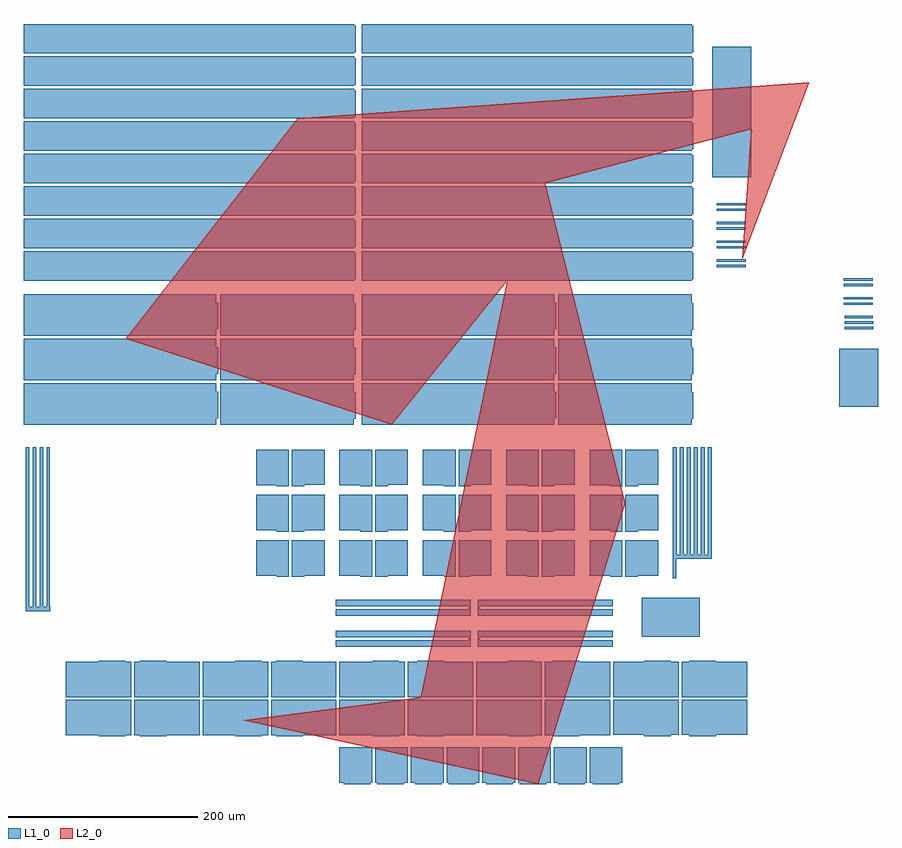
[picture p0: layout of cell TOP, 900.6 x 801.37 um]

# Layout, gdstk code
import gdstk
lib = gdstk.Library(unit=1e-6, precision=1e-09)
def R(c, l, rs):  # rectangles x0, y0, x1, y1
    for r in rs: c.add(gdstk.rectangle(r[:2], r[2:], *l))
def P(c, l, *ps):  # polygons
    for p in ps: c.add(gdstk.Polygon(p, *l))
L1_0 = (1, 0)
L2_0 = (2, 0)

top = lib.new_cell('TOP')
R(top, L1_0, [(1419.759,3811.713,1480.827,3852.633), (1628.017,4054.253,1668.929,4115.313), (1633.812,4135.949,1664.1,4138.36), (1633.812,4141.809,1664.1,4144.229), (1633.812,4147.677,1663.133,4150.089), (1632.636,4161.681,1663.133,4164.101), (1632.636,4167.477,1663.133,4169.896), (1632.636,4181.488,1663.133,4183.901), (1632.636,4187.285,1663.133,4189.696), (1498.834,4201.288,1529.331,4203.705), (1498.834,4207.085,1529.331,4209.501), (1498.834,4221.093,1529.331,4223.505), (1498.834,4226.889,1529.331,4229.301), (1498.834,4240.893,1529.331,4243.312), (1498.834,4246.689,1529.331,4249.109), (1498.834,4260.701,1529.331,4263.112), (1498.834,4266.496,1529.331,4268.909), (1494.215,4296.029,1535.127,4434.029)])
P(top, L1_0, [(770.08,3838.696),(770.08,3843.112),(770.357,3843.112),(770.357,4011.333),(773.808,4011.333),(773.808,3843.112),(777.672,3843.112),(777.672,4011.333),(781.12,4011.333),(781.12,3843.112),(784.984,3843.112),(784.984,4011.333),(788.436,4011.333),(788.436,3843.112),(792.3,3843.112),(792.3,4011.333),(795.749,4011.333),(795.749,3843.112),(796.164,3843.112),(796.164,3838.696)],
  [(1140.999,3656.397),(1140.999,3657.64),(1138.727,3657.64),(1138.727,3694.901),(1173.226,3694.901),(1173.226,3657.64),(1168.875,3657.64),(1168.875,3656.397)],
  [(1135.895,3706.833),(1135.895,3707.872),(1101.051,3707.872),(1101.051,3745.336),(1170.051,3745.336),(1170.051,3707.872),(1163.77,3707.872),(1163.77,3706.833)],
  [(1101.051,3747.893),(1101.051,3785.357),(1135.895,3785.357),(1135.895,3786.393),(1163.77,3786.393),(1163.77,3785.357),(1170.051,3785.357),(1170.051,3747.893)],
  [(1097.05,3800.885),(1097.05,3807.784),(1237.395,3807.784),(1237.395,3810.957),(1097.05,3810.957),(1097.05,3817.857),(1239.466,3817.857),(1239.466,3800.885)],
  [(1097.05,3833.589),(1097.05,3840.489),(1237.395,3840.489),(1237.395,3843.664),(1097.05,3843.664),(1097.05,3850.565),(1239.466,3850.565),(1239.466,3833.589)],
  [(1138.727,3874.713),(1138.727,3913.493),(1173.226,3913.493),(1173.226,3876.232),(1151.763,3876.232),(1151.763,3874.853),(1140.034,3874.853),(1140.034,3874.713)],
  [(1138.727,3922.461),(1138.727,3961.24),(1173.226,3961.24),(1173.226,3923.981),(1151.763,3923.981),(1151.763,3922.6),(1140.034,3922.6),(1140.034,3922.461)],
  [(1138.727,3970.209),(1138.727,4008.989),(1173.226,4008.989),(1173.226,3971.728),(1151.763,3971.728),(1151.763,3970.349),(1140.034,3970.349),(1140.034,3970.209)],
  [(768.334,4035.208),(768.334,4079.021),(971.259,4079.021),(971.259,4070.121),(973.19,4070.121),(973.19,4042.245),(971.259,4042.245),(971.259,4035.208)],
  [(975.334,4035.208),(975.334,4079.021),(1116.095,4079.021),(1116.095,4069.432),(1118.026,4069.432),(1118.026,4041.557),(1116.095,4041.557),(1116.095,4035.208)],
  [(1124.511,4035.208),(1124.511,4079.021),(1327.439,4079.021),(1327.439,4070.121),(1329.37,4070.121),(1329.37,4042.245),(1327.439,4042.245),(1327.439,4035.208)],
  [(1331.511,4035.208),(1331.511,4079.021),(1472.271,4079.021),(1472.271,4069.432),(1474.203,4069.432),(1474.203,4041.557),(1472.271,4041.557),(1472.271,4035.208)],
  [(1124.511,4082.056),(1124.511,4125.873),(1327.439,4125.873),(1327.439,4116.969),(1329.37,4116.969),(1329.37,4089.093),(1327.439,4089.093),(1327.439,4082.056)],
  [(1124.511,4128.909),(1124.511,4172.721),(1327.439,4172.721),(1327.439,4163.824),(1329.37,4163.824),(1329.37,4135.949),(1327.439,4135.949),(1327.439,4128.909)],
  [(1124.511,4187.145),(1124.511,4218.197),(1472.547,4218.197),(1472.547,4216.469),(1474.203,4216.469),(1474.203,4188.592),(1472.547,4188.592),(1472.547,4187.145)],
  [(1124.511,4221.369),(1124.511,4252.421),(1472.547,4252.421),(1472.547,4250.693),(1474.203,4250.693),(1474.203,4222.816),(1472.547,4222.816),(1472.547,4221.369)],
  [(1124.511,4255.593),(1124.511,4286.645),(1472.547,4286.645),(1472.547,4284.917),(1474.203,4284.917),(1474.203,4257.04),(1472.547,4257.04),(1472.547,4255.593)],
  [(1124.511,4289.817),(1124.511,4320.869),(1472.547,4320.869),(1472.547,4319.141),(1474.203,4319.141),(1474.203,4291.264),(1472.547,4291.264),(1472.547,4289.817)],
  [(1124.511,4324.041),(1124.511,4355.093),(1472.547,4355.093),(1472.547,4353.365),(1474.203,4353.365),(1474.203,4325.488),(1472.547,4325.488),(1472.547,4324.041)],
  [(1124.511,4358.265),(1124.511,4389.317),(1472.547,4389.317),(1472.547,4387.589),(1474.203,4387.589),(1474.203,4359.712),(1472.547,4359.712),(1472.547,4358.265)],
  [(1124.511,4392.489),(1124.511,4423.541),(1472.547,4423.541),(1472.547,4421.813),(1474.203,4421.813),(1474.203,4393.936),(1472.547,4393.936),(1472.547,4392.489)],
  [(1124.511,4426.713),(1124.511,4457.765),(1472.547,4457.765),(1472.547,4456.037),(1474.203,4456.037),(1474.203,4428.16),(1472.547,4428.16),(1472.547,4426.713)],
  [(1331.511,4082.056),(1331.511,4125.873),(1472.271,4125.873),(1472.271,4116.28),(1474.203,4116.28),(1474.203,4088.405),(1472.271,4088.405),(1472.271,4082.056)],
  [(1331.511,4128.909),(1331.511,4172.721),(1472.271,4172.721),(1472.271,4163.133),(1474.203,4163.133),(1474.203,4135.257),(1472.271,4135.257),(1472.271,4128.909)],
  [(768.334,4082.056),(768.334,4125.873),(971.259,4125.873),(971.259,4116.969),(973.19,4116.969),(973.19,4089.093),(971.259,4089.093),(971.259,4082.056)],
  [(768.334,4289.817),(768.334,4320.869),(1116.37,4320.869),(1116.37,4319.141),(1118.026,4319.141),(1118.026,4291.264),(1116.37,4291.264),(1116.37,4289.817)],
  [(768.334,4187.145),(768.334,4218.197),(1116.37,4218.197),(1116.37,4216.469),(1118.026,4216.469),(1118.026,4188.592),(1116.37,4188.592),(1116.37,4187.145)],
  [(768.334,4324.041),(768.334,4355.093),(1116.37,4355.093),(1116.37,4353.365),(1118.026,4353.365),(1118.026,4325.488),(1116.37,4325.488),(1116.37,4324.041)],
  [(768.334,4221.369),(768.334,4252.421),(1116.37,4252.421),(1116.37,4250.693),(1118.026,4250.693),(1118.026,4222.816),(1116.37,4222.816),(1116.37,4221.369)],
  [(768.334,4358.265),(768.334,4389.317),(1116.37,4389.317),(1116.37,4387.589),(1118.026,4387.589),(1118.026,4359.712),(1116.37,4359.712),(1116.37,4358.265)],
  [(768.334,4128.909),(768.334,4172.721),(971.259,4172.721),(971.259,4163.824),(973.19,4163.824),(973.19,4135.949),(971.259,4135.949),(971.259,4128.909)],
  [(768.334,4392.489),(768.334,4423.541),(1116.37,4423.541),(1116.37,4421.813),(1118.026,4421.813),(1118.026,4393.936),(1116.37,4393.936),(1116.37,4392.489)],
  [(975.334,4128.909),(975.334,4172.721),(1116.095,4172.721),(1116.095,4163.133),(1118.026,4163.133),(1118.026,4135.257),(1116.095,4135.257),(1116.095,4128.909)],
  [(975.334,4082.056),(975.334,4125.873),(1116.095,4125.873),(1116.095,4116.28),(1118.026,4116.28),(1118.026,4088.405),(1116.095,4088.405),(1116.095,4082.056)],
  [(768.334,4426.713),(768.334,4457.765),(1116.37,4457.765),(1116.37,4456.037),(1118.026,4456.037),(1118.026,4428.16),(1116.37,4428.16),(1116.37,4426.713)],
  [(768.334,4255.593),(768.334,4286.645),(1116.37,4286.645),(1116.37,4284.917),(1118.026,4284.917),(1118.026,4257.04),(1116.37,4257.04),(1116.37,4255.593)],
  [(1050.819,3874.713),(1050.819,3913.493),(1085.319,3913.493),(1085.319,3876.232),(1063.858,3876.232),(1063.858,3874.853),(1052.127,3874.853),(1052.127,3874.713)],
  [(1133.823,3874.713),(1133.823,3874.853),(1123.059,3874.853),(1123.059,3876.021),(1101.051,3876.021),(1101.051,3913.493),(1135.551,3913.493),(1135.551,3874.713)],
  [(1034.462,3706.833),(1034.462,3707.872),(1028.878,3707.872),(1028.878,3745.336),(1097.879,3745.336),(1097.879,3707.872),(1062.339,3707.872),(1062.339,3706.833)],
  [(1045.918,3922.461),(1045.918,3922.6),(1035.154,3922.6),(1035.154,3923.769),(1013.146,3923.769),(1013.146,3961.24),(1047.646,3961.24),(1047.646,3922.461)],
  [(1050.819,3922.461),(1050.819,3961.24),(1085.319,3961.24),(1085.319,3923.981),(1063.858,3923.981),(1063.858,3922.6),(1052.127,3922.6),(1052.127,3922.461)],
  [(1133.823,3922.461),(1133.823,3922.6),(1123.059,3922.6),(1123.059,3923.769),(1101.051,3923.769),(1101.051,3961.24),(1135.551,3961.24),(1135.551,3922.461)],
  [(1105.743,3656.397),(1105.743,3657.64),(1101.051,3657.64),(1101.051,3694.901),(1135.551,3694.901),(1135.551,3657.64),(1133.619,3657.64),(1133.619,3656.397)],
  [(1045.918,3970.209),(1045.918,3970.349),(1035.154,3970.349),(1035.154,3971.517),(1013.146,3971.517),(1013.146,4008.989),(1047.646,4008.989),(1047.646,3970.209)],
  [(1050.819,3970.209),(1050.819,4008.989),(1085.319,4008.989),(1085.319,3971.728),(1063.858,3971.728),(1063.858,3970.349),(1052.127,3970.349),(1052.127,3970.209)],
  [(1133.823,3970.209),(1133.823,3970.349),(1123.059,3970.349),(1123.059,3971.517),(1101.051,3971.517),(1101.051,4008.989),(1135.551,4008.989),(1135.551,3970.209)],
  [(812.355,3747.893),(812.355,3785.357),(847.406,3785.357),(847.406,3786.393),(875.283,3786.393),(875.283,3785.357),(881.355,3785.357),(881.355,3747.893)],
  [(884.53,3747.893),(884.53,3785.357),(890.667,3785.357),(890.667,3786.393),(918.542,3786.393),(918.542,3785.357),(953.53,3785.357),(953.53,3747.893)],
  [(956.702,3747.821),(956.702,3785.357),(991.203,3785.357),(991.203,3786.393),(1019.078,3786.393),(1019.078,3785.357),(1025.702,3785.357),(1025.702,3747.821)],
  [(1028.878,3747.893),(1028.878,3785.357),(1034.462,3785.357),(1034.462,3786.393),(1062.339,3786.393),(1062.339,3785.357),(1097.879,3785.357),(1097.879,3747.893)],
  [(847.406,3706.833),(847.406,3707.872),(812.355,3707.872),(812.355,3745.336),(881.355,3745.336),(881.355,3707.872),(875.283,3707.872),(875.283,3706.833)],
  [(890.667,3706.833),(890.667,3707.872),(884.53,3707.872),(884.53,3745.336),(953.53,3745.336),(953.53,3707.872),(918.542,3707.872),(918.542,3706.833)],
  [(991.203,3706.833),(991.203,3707.8),(956.702,3707.8),(956.702,3745.336),(1025.702,3745.336),(1025.702,3707.8),(1019.078,3707.8),(1019.078,3706.833)],
  [(1045.918,3874.713),(1045.918,3874.853),(1035.154,3874.853),(1035.154,3876.021),(1013.146,3876.021),(1013.146,3913.493),(1047.646,3913.493),(1047.646,3874.713)],
  [(1325.991,3706.833),(1325.991,3707.872),(1317.575,3707.872),(1317.575,3745.336),(1386.575,3745.336),(1386.575,3707.872),(1353.867,3707.872),(1353.867,3706.833)],
  [(1422.591,3706.833),(1422.591,3708.077),(1389.747,3708.077),(1389.747,3745.336),(1458.747,3745.336),(1458.747,3708.077),(1450.467,3708.077),(1450.467,3706.833)],
  [(1469.787,3706.833),(1469.787,3708.077),(1461.922,3708.077),(1461.922,3745.336),(1530.922,3745.336),(1530.922,3708.077),(1497.663,3708.077),(1497.663,3706.833)],
  [(1221.73,3874.713),(1221.73,3874.853),(1211.314,3874.853),(1211.314,3876.021),(1188.959,3876.021),(1188.959,3913.493),(1223.458,3913.493),(1223.458,3874.713)],
  [(1226.631,3874.713),(1226.631,3913.493),(1261.131,3913.493),(1261.131,3876.232),(1239.191,3876.232),(1239.191,3874.853),(1227.939,3874.853),(1227.939,3874.713)],
  [(1309.635,3874.713),(1309.635,3874.853),(1298.871,3874.853),(1298.871,3876.021),(1276.863,3876.021),(1276.863,3913.493),(1311.363,3913.493),(1311.363,3874.713)],
  [(1314.538,3874.713),(1314.538,3913.493),(1349.039,3913.493),(1349.039,3876.232),(1327.575,3876.232),(1327.575,3874.853),(1315.847,3874.853),(1315.847,3874.713)],
  [(1397.543,3874.713),(1397.543,3874.853),(1386.778,3874.853),(1386.778,3876.021),(1364.77,3876.021),(1364.77,3913.493),(1399.271,3913.493),(1399.271,3874.713)],
  [(1402.443,3874.713),(1402.443,3913.493),(1436.943,3913.493),(1436.943,3876.232),(1415.482,3876.232),(1415.482,3874.853),(1403.751,3874.853),(1403.751,3874.713)],
  [(1368.082,3656.397),(1368.082,3657.64),(1364.77,3657.64),(1364.77,3694.901),(1399.271,3694.901),(1399.271,3657.64),(1395.959,3657.64),(1395.959,3656.397)],
  [(1180.954,3656.397),(1180.954,3657.64),(1176.399,3657.64),(1176.399,3694.901),(1210.899,3694.901),(1210.899,3657.64),(1208.831,3657.64),(1208.831,3656.397)],
  [(1216.143,3656.397),(1216.143,3657.64),(1214.074,3657.64),(1214.074,3694.901),(1248.575,3694.901),(1248.575,3657.64),(1244.019,3657.64),(1244.019,3656.397)],
  [(1255.611,3656.397),(1255.611,3657.64),(1251.747,3657.64),(1251.747,3694.901),(1286.247,3694.901),(1286.247,3657.64),(1283.487,3657.64),(1283.487,3656.397)],
  [(1221.73,3922.461),(1221.73,3922.6),(1210.967,3922.6),(1210.967,3923.769),(1188.959,3923.769),(1188.959,3961.24),(1223.458,3961.24),(1223.458,3922.461)],
  [(1226.631,3922.461),(1226.631,3961.24),(1261.131,3961.24),(1261.131,3923.981),(1239.671,3923.981),(1239.671,3922.6),(1227.939,3922.6),(1227.939,3922.461)],
  [(1309.635,3922.461),(1309.635,3922.6),(1299.219,3922.6),(1299.219,3923.769),(1276.863,3923.769),(1276.863,3961.24),(1311.363,3961.24),(1311.363,3922.461)],
  [(1314.538,3922.461),(1314.538,3961.24),(1349.039,3961.24),(1349.039,3923.981),(1327.234,3923.981),(1327.234,3922.6),(1315.847,3922.6),(1315.847,3922.461)],
  [(1397.543,3922.461),(1397.543,3922.6),(1386.778,3922.6),(1386.778,3923.769),(1364.77,3923.769),(1364.77,3961.24),(1399.271,3961.24),(1399.271,3922.461)],
  [(1402.443,3922.461),(1402.443,3961.24),(1436.943,3961.24),(1436.943,3923.981),(1415.482,3923.981),(1415.482,3922.6),(1403.751,3922.6),(1403.751,3922.461)],
  [(1291.215,3656.397),(1291.215,3657.64),(1289.423,3657.64),(1289.423,3694.901),(1323.922,3694.901),(1323.922,3657.64),(1319.091,3657.64),(1319.091,3656.397)],
  [(1173.226,3747.893),(1173.226,3785.357),(1183.023,3785.357),(1183.023,3786.393),(1210.899,3786.393),(1210.899,3785.357),(1242.226,3785.357),(1242.226,3747.893)],
  [(1245.399,3747.821),(1245.399,3785.357),(1278.795,3785.357),(1278.795,3786.393),(1306.671,3786.393),(1306.671,3785.357),(1314.399,3785.357),(1314.399,3747.821)],
  [(1317.575,3747.893),(1317.575,3785.357),(1325.991,3785.357),(1325.991,3786.393),(1353.867,3786.393),(1353.867,3785.357),(1386.575,3785.357),(1386.575,3747.893)],
  [(1221.73,3970.209),(1221.73,3970.349),(1210.967,3970.349),(1210.967,3971.517),(1188.959,3971.517),(1188.959,4008.989),(1223.458,4008.989),(1223.458,3970.209)],
  [(1226.631,3970.209),(1226.631,4008.989),(1261.131,4008.989),(1261.131,3971.728),(1239.671,3971.728),(1239.671,3970.349),(1227.939,3970.349),(1227.939,3970.209)],
  [(1309.635,3970.209),(1309.635,3970.349),(1298.871,3970.349),(1298.871,3971.517),(1276.863,3971.517),(1276.863,4008.989),(1311.363,4008.989),(1311.363,3970.209)],
  [(1314.538,3970.209),(1314.538,4008.989),(1349.039,4008.989),(1349.039,3971.728),(1327.575,3971.728),(1327.575,3970.349),(1315.847,3970.349),(1315.847,3970.209)],
  [(1397.543,3970.209),(1397.543,3970.349),(1386.778,3970.349),(1386.778,3971.517),(1364.77,3971.517),(1364.77,4008.989),(1399.271,4008.989),(1399.271,3970.209)],
  [(1402.443,3970.209),(1402.443,4008.989),(1436.943,4008.989),(1436.943,3971.728),(1415.482,3971.728),(1415.482,3970.349),(1403.751,3970.349),(1403.751,3970.209)],
  [(1389.747,3748.096),(1389.747,3785.357),(1422.591,3785.357),(1422.591,3786.393),(1450.467,3786.393),(1450.467,3785.357),(1458.747,3785.357),(1458.747,3748.096)],
  [(1452.675,3873.125),(1452.675,4011.333),(1456.815,4011.333),(1456.815,3898.312),(1459.991,3898.312),(1459.991,4011.333),(1464.13,4011.333),(1464.13,3898.312),(1467.303,3898.312),(1467.303,4011.333),(1471.443,4011.333),(1471.443,3898.312),(1474.618,3898.312),(1474.618,4011.333),(1478.759,4011.333),(1478.759,3898.312),(1481.931,3898.312),(1481.931,4011.333),(1486.071,4011.333),(1486.071,3898.312),(1489.247,3898.312),(1489.247,4011.333),(1493.386,4011.333),(1493.386,3893.896),(1456.127,3893.896),(1456.127,3873.125)],
  [(1461.922,3748.096),(1461.922,3785.357),(1469.787,3785.357),(1469.787,3786.393),(1497.663,3786.393),(1497.663,3785.357),(1530.922,3785.357),(1530.922,3748.096)],
  [(1331.855,3656.397),(1331.855,3657.64),(1327.095,3657.64),(1327.095,3694.901),(1361.595,3694.901),(1361.595,3657.64),(1359.73,3657.64),(1359.73,3656.397)],
  [(1246.919,3800.885),(1246.919,3817.857),(1389.335,3817.857),(1389.335,3810.957),(1248.987,3810.957),(1248.987,3807.784),(1389.335,3807.784),(1389.335,3800.885)],
  [(1183.023,3706.833),(1183.023,3707.872),(1173.226,3707.872),(1173.226,3745.336),(1242.226,3745.336),(1242.226,3707.872),(1210.899,3707.872),(1210.899,3706.833)],
  [(1246.919,3833.589),(1246.919,3850.565),(1389.335,3850.565),(1389.335,3843.664),(1248.987,3843.664),(1248.987,3840.489),(1389.335,3840.489),(1389.335,3833.589)],
  [(1278.795,3706.833),(1278.795,3707.8),(1245.399,3707.8),(1245.399,3745.336),(1314.399,3745.336),(1314.399,3707.8),(1306.671,3707.8),(1306.671,3706.833)])
P(top, L2_0, [(1310.4,3656.397),(999.7,3723.5),(1186.5,3747.893),(1278,4187.145),(1156,4035.208),(875.8,4125.873),(1056.9,4358.265),(1596.4,4396.4),(1525.8,4209.501),(1535.127,4346.8),(1318.1,4289.817),(1402.443,3952.3)])

lib.write_gds('TOP.gds')
